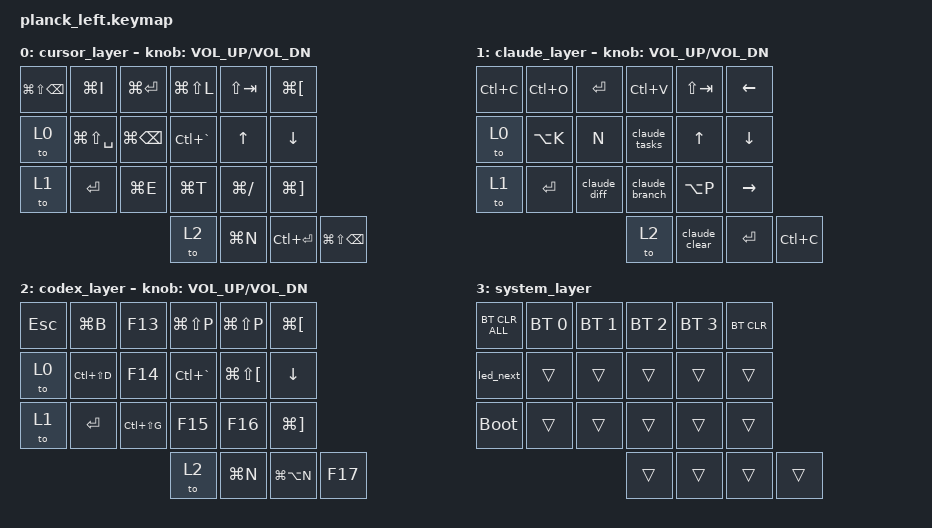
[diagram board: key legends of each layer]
#include <behaviors.dtsi>
#include <dt-bindings/zmk/keys.h>
#include <dt-bindings/zmk/bt.h>

/ {
    behaviors {
        // 自研 LED 模块提供的自定义 behavior：循环切换灯效预设
        // （常亮 -> 呼吸 -> 跑马 -> 熔灭 -> 关灯 -> ...）。
        // 驱动见仓库根 src/led_control.c，绑定见 dts/bindings/behaviors。
        led_next: behavior_led_next {
            compatible = "planckeys,behavior-led-next";
            #binding-cells = <0>;
        };
    };

    macros {
        // Claude Code 的高频 slash command。宏只负责输入命令并回车，
        // 因而要求焦点已经位于 Claude Code 的 prompt。
        claude_clear: behavior_claude_clear {
            compatible = "zmk,behavior-macro";
            #binding-cells = <0>;
            wait-ms = <40>;
            tap-ms = <40>;
            bindings = <&macro_tap &kp FSLH &kp C &kp L &kp E &kp A &kp R &kp ENTER>;
        };

        claude_diff: behavior_claude_diff {
            compatible = "zmk,behavior-macro";
            #binding-cells = <0>;
            wait-ms = <40>;
            tap-ms = <40>;
            bindings = <&macro_tap &kp FSLH &kp D &kp I &kp F &kp F &kp ENTER>;
        };

        claude_tasks: behavior_claude_tasks {
            compatible = "zmk,behavior-macro";
            #binding-cells = <0>;
            wait-ms = <40>;
            tap-ms = <40>;
            bindings = <&macro_tap &kp FSLH &kp T &kp A &kp S &kp K &kp S &kp ENTER>;
        };

        claude_branch: behavior_claude_branch {
            compatible = "zmk,behavior-macro";
            #binding-cells = <0>;
            wait-ms = <40>;
            tap-ms = <40>;
            bindings = <&macro_tap &kp FSLH &kp B &kp R &kp A &kp N &kp C &kp H &kp ENTER>;
        };
    };

    keymap {
        compatible = "zmk,keymap";

        // 位置顺序（22 键，见 default_transform 左板 map）：
        //  0  1  2  3  4  5
        //  6  7  8  9 10 11
        // 12 13 14 15 16 17
        //      18 19 20 21     (18 = 编码器按压)
        // 键帽正面布局（每一行对应实际的一列，从上到下）：
        //
        // ESC       F1 聚焦    F5 批准    Print 上下文    猫/模式    ←
        // Cursor    F2 语音    F6 拒绝    Scroll 终端     ↑         ↓
        // Claude    F3 发送    F7 Review  Insert 分支     狗/模型    →
        // Codex     F4 新会话  F8 跟进    Pause 停止
        //
        // 三个应用层保持相同的物理语义，只翻译成各应用自己的快捷键。
        // 图标键使用 &to 持久选层：游戏手柄=Cursor、咖啡=Claude、电动车=Codex。
        cursor_layer {
            bindings = <
&kp LG(LS(BSPC))  &kp LG(I)         &kp LG(ENTER)  &kp LG(LS(L))  &kp LS(TAB)   &kp LG(LBKT)
&to 0              &kp LG(LS(SPACE)) &kp LG(BSPC)   &kp LC(GRAVE)  &kp UP        &kp DOWN
&to 1              &kp ENTER         &kp LG(E)       &kp LG(T)      &kp LG(FSLH)  &kp LG(RBKT)
                                      &to 2           &kp LG(N)      &kp LC(ENTER) &kp LG(LS(BSPC))
            >;

            sensor-bindings = <&inc_dec_kp C_VOL_UP C_VOL_DN>;
        };

        claude_layer {
            bindings = <
&kp LC(C)  &kp LC(O)  &kp ENTER  &kp LC(V)       &kp LS(TAB)  &kp LEFT
&to 0      &kp LA(K)  &kp N      &claude_tasks   &kp UP       &kp DOWN
&to 1      &kp ENTER  &claude_diff &claude_branch &kp LA(P)   &kp RIGHT
                                &to 2           &claude_clear  &kp ENTER    &kp LC(C)
            >;

            sensor-bindings = <&inc_dec_kp C_VOL_UP C_VOL_DN>;
        };

        // Codex/ChatGPT 中已有公开快捷键的动作直接发送组合键。
        // 没有公开默认键的 Micro 动作预留 F13..F17，建议在
        // Settings > Keyboard Shortcuts（若动作可见）或主机自动化中绑定：
        // F13=Approve、F14=Decline、F15=Continue in new chat、
        // F16=Fast mode、F17=Stop generation。
        codex_layer {
            bindings = <
&kp ESC  &kp LG(B)       &kp F13        &kp LG(LS(P))  &kp LG(LS(P))  &kp LG(LBKT)
&to 0    &kp LC(LS(D))   &kp F14        &kp LC(GRAVE)  &kp LG(LS(LBKT)) &kp DOWN
&to 1    &kp ENTER       &kp LC(LS(G))  &kp F15        &kp F16        &kp LG(RBKT)
                                      &to 2           &kp LG(N)      &kp LG(LA(N)) &kp F17
            >;

            sensor-bindings = <&inc_dec_kp C_VOL_UP C_VOL_DN>;
        };

        // 系统层：蓝牙管理 + 灯效循环 + bootloader（通过 combo 进入，见下）。
        system_layer {
            bindings = <
&bt BT_CLR_ALL  &bt BT_SEL 0  &bt BT_SEL 1  &bt BT_SEL 2  &bt BT_SEL 3  &bt BT_CLR
&led_next       &trans        &trans        &trans        &trans        &trans
&bootloader     &trans        &trans        &trans        &trans        &trans
                              &trans        &trans        &trans        &trans
            >;
        };
    };

    combos {
        compatible = "zmk,combos";
        // 左上三键同时按住进入系统层（同板组合，位置索引对应本板 22 键排布）。
        combo_system {
            timeout-ms = <50>;
            key-positions = <0 6 12>;
            bindings = <&mo 3>;
        };
    };
};
